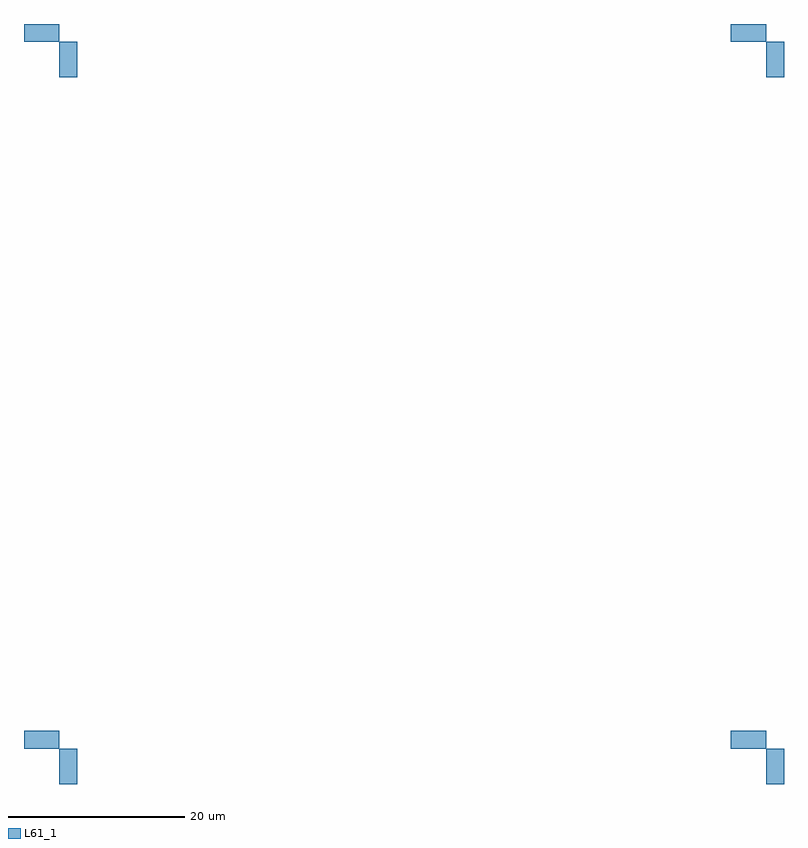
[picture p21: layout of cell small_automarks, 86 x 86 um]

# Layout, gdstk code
import gdstk
lib = gdstk.Library(unit=1e-6, precision=1e-09)
L61_1 = (61, 1)

small_automarks = lib.new_cell('small_automarks')
small_automarks.add(gdstk.FlexPath([(-37,-42),(-37,-38)], 2, ends="flush", simple_path=True, layer=61, datatype=1))  # L61_1
small_automarks.add(gdstk.FlexPath([(-42,-37),(-38,-37)], 2, ends="flush", simple_path=True, layer=61, datatype=1))  # L61_1
small_automarks.add(gdstk.FlexPath([(43,-42),(43,-38)], 2, ends="flush", simple_path=True, layer=61, datatype=1))  # L61_1
small_automarks.add(gdstk.FlexPath([(38,-37),(42,-37)], 2, ends="flush", simple_path=True, layer=61, datatype=1))  # L61_1
small_automarks.add(gdstk.FlexPath([(43,38),(43,42)], 2, ends="flush", simple_path=True, layer=61, datatype=1))  # L61_1
small_automarks.add(gdstk.FlexPath([(38,43),(42,43)], 2, ends="flush", simple_path=True, layer=61, datatype=1))  # L61_1
small_automarks.add(gdstk.FlexPath([(-37,38),(-37,42)], 2, ends="flush", simple_path=True, layer=61, datatype=1))  # L61_1
small_automarks.add(gdstk.FlexPath([(-42,43),(-38,43)], 2, ends="flush", simple_path=True, layer=61, datatype=1))  # L61_1

lib.write_gds('small_automarks.gds')
